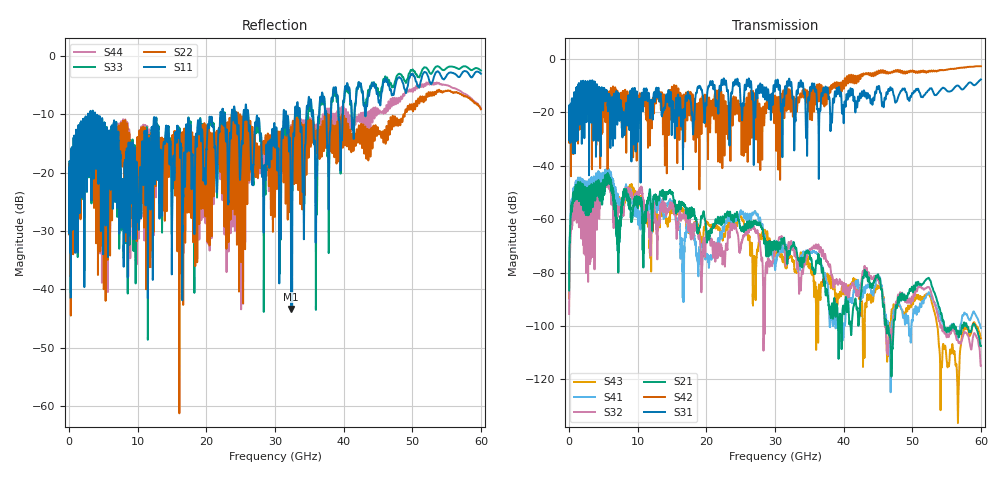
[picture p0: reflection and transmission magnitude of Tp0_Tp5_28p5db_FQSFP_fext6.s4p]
!4 port subset of full cascaded channels using these ports:13 37 14 38
# Hz S RI R 50
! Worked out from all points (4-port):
!   6000 points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, 10 MHz to 60 GHz, reference 50 ohm
!   strongest paths, dB at 10 MHz, 15.01 GHz, 30.01 GHz, 45.01 GHz, 60 GHz:
!     S31: -20.0, -18.4, -10.0, -11.3, -7.6
!     S42: -20.0, -10.7, -13.8, -5.2, -2.7
!     S21: -86.7, -50.1, -70.4, -80.6, -107.4
!     S32: -95.5, -55.4, -71.5, -82.4, -114.9
!     S41: -84.2, -53.6, -78.2, -81.0, -100.7
!     S43: -89.7, -57.0, -73.1, -84.9, -104.7
!   lowest |S11| = -43.3 dB at 32.35 GHz (marker M1), VSWR 1.01, Z = 50.6 - j0.397 ohm
!   |S11| at or under -10 dB: start of sweep to 2.768 GHz; 3.817 GHz to 22.03 GHz (18.21 GHz wide, 141 % of centre); 26.11 GHz to 31.24 GHz (5.135 GHz wide, 17.9 % of centre)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
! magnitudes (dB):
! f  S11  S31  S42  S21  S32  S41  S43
! 10 MHz  -21.9  -20.0  -20.0  -86.7  -95.5  -84.2  -89.7
! 1.04 GHz  -15.1  -15.0  -17.1  -51.6  -58.9  -49.7  -54.9
! 5.5 GHz  -12.7  -12.4  -16.8  -46.7  -46.5  -44.4  -45.4
! 7.16 GHz  -13.5  -14.4  -18.0  -63.9  -56.3  -53.3  -53.8
! 16.51 GHz  -35.0  -20.7  -14.2  -54.7  -59.3  -78.6  -56.4
! 32.35 GHz  -43.3  -8.6  -16.5  -70.4  -68.1  -68.7  -74.1
! 60 GHz  -3.0  -7.6  -2.7  -107.4  -114.9  -100.7  -104.7
